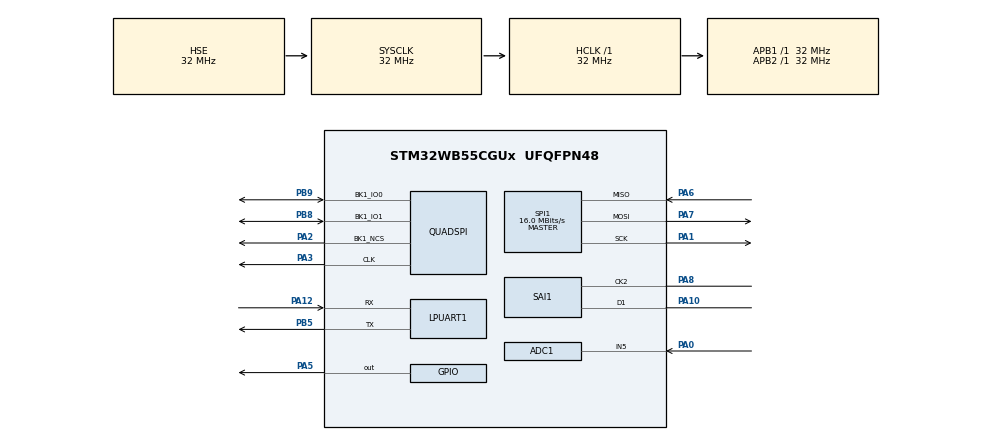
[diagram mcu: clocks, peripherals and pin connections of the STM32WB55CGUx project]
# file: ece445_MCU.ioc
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ADC1.Channel-0\#ChannelRegularConversion=ADC_CHANNEL_5
ADC1.NbrOfConversionFlag=1
ADC1.OffsetNumber-0\#ChannelRegularConversion=ADC_OFFSET_NONE
ADC1.Rank-0\#ChannelRegularConversion=1
ADC1.SamplingTime-0\#ChannelRegularConversion=ADC_SAMPLETIME_2CYCLES_5
ADC1.master=1
Dma.LPUART1_TX.1.Direction=DMA_MEMORY_TO_PERIPH
Dma.LPUART1_TX.1.EventEnable=DISABLE
Dma.LPUART1_TX.1.Instance=DMA1_Channel2
Dma.LPUART1_TX.1.MemDataAlignment=DMA_MDATAALIGN_BYTE
Dma.LPUART1_TX.1.MemInc=DMA_MINC_ENABLE
Dma.LPUART1_TX.1.Mode=DMA_NORMAL
Dma.LPUART1_TX.1.PeriphDataAlignment=DMA_PDATAALIGN_BYTE
Dma.LPUART1_TX.1.PeriphInc=DMA_PINC_DISABLE
Dma.LPUART1_TX.1.Polarity=HAL_DMAMUX_REQ_GEN_RISING
Dma.LPUART1_TX.1.Priority=DMA_PRIORITY_LOW
Dma.LPUART1_TX.1.RequestNumber=1
Dma.LPUART1_TX.1.SignalID=NONE
Dma.LPUART1_TX.1.SyncEnable=DISABLE
Dma.LPUART1_TX.1.SyncPolarity=HAL_DMAMUX_SYNC_NO_EVENT
Dma.LPUART1_TX.1.SyncRequestNumber=1
Dma.LPUART1_TX.1.SyncSignalID=NONE
Dma.Request0=SAI1_A
Dma.Request1=LPUART1_TX
Dma.SAI1_A.0.Direction=DMA_PERIPH_TO_MEMORY
Dma.SAI1_A.0.EventEnable=DISABLE
Dma.SAI1_A.0.Instance=DMA1_Channel1
Dma.SAI1_A.0.MemDataAlignment=DMA_MDATAALIGN_BYTE
Dma.SAI1_A.0.MemInc=DMA_MINC_ENABLE
Dma.SAI1_A.0.Mode=DMA_CIRCULAR
Dma.SAI1_A.0.PeriphDataAlignment=DMA_PDATAALIGN_BYTE
Dma.SAI1_A.0.PeriphInc=DMA_PINC_DISABLE
Dma.SAI1_A.0.Polarity=HAL_DMAMUX_REQ_GEN_RISING
Dma.SAI1_A.0.Priority=DMA_PRIORITY_LOW
Dma.SAI1_A.0.RequestNumber=1
Dma.SAI1_A.0.SignalID=NONE
Dma.SAI1_A.0.SyncEnable=DISABLE
Dma.SAI1_A.0.SyncPolarity=HAL_DMAMUX_SYNC_NO_EVENT
Dma.SAI1_A.0.SyncRequestNumber=1
Dma.SAI1_A.0.SyncSignalID=NONE
Mcu.Family=STM32WB
Mcu.Name=STM32WB55CGUx
Mcu.Package=UFQFPN48
NVIC.DMA1_Channel1_IRQn=true\:0\:0\:false\:false\:true\:false\:true\:true
NVIC.DMA1_Channel2_IRQn=true\:0\:0\:false\:false\:true\:false\:true\:true
NVIC.HSEM_IRQn=true\:0\:0\:false\:false\:true\:false\:true\:true
NVIC.IPCC_C1_RX_IRQn=true\:0\:0\:false\:false\:true\:true\:true\:true
NVIC.IPCC_C1_TX_IRQn=true\:0\:0\:false\:false\:true\:true\:true\:true
NVIC.LPUART1_IRQn=true\:0\:0\:false\:false\:true\:true\:true\:true
NVIC.PriorityGroup=NVIC_PRIORITYGROUP_4
NVIC.RTC_WKUP_IRQn=true\:0\:0\:false\:false\:true\:true\:true\:true
OSC_IN.Mode=HSE-External-Oscillator
OSC_IN.Signal=RCC_OSC_IN
OSC_OUT.Mode=HSE-External-Oscillator
OSC_OUT.Signal=RCC_OSC_OUT
PA0.Signal=ADCx_IN5
PA1.Mode=Full_Duplex_Master
PA1.Signal=SPI1_SCK
PA10.Mode=PDM_Master_Mode_CK2
PA10.Signal=SAI1_D1
PA12.Mode=Asynchronous
PA12.Signal=LPUART1_RX
PA13.Mode=Serial_Wire
PA13.Signal=SYS_JTMS-SWDIO
PA14.Mode=Serial_Wire
PA14.Signal=SYS_JTCK-SWCLK
PA2.Mode=Single Bank 1 2IOs
PA2.Signal=QUADSPI_BK1_NCS
PA3.Mode=Single Bank 1 2IOs
PA3.Signal=QUADSPI_CLK
PA5.Signal=GPIO_Output
PA6.Mode=Full_Duplex_Master
PA6.Signal=SPI1_MISO
PA7.Mode=Full_Duplex_Master
PA7.Signal=SPI1_MOSI
PA8.Mode=PDM_Master_Mode_CK2
PA8.Signal=SAI1_CK2
PB3.Signal=SYS_JTDO-SWO
PB5.Mode=Asynchronous
PB5.Signal=LPUART1_TX
PB8.Mode=Single Bank 1 2IOs
PB8.Signal=QUADSPI_BK1_IO1
PB9.Mode=Single Bank 1 2IOs
PB9.Signal=QUADSPI_BK1_IO0
PC14-OSC32_IN.Mode=LSE-External-Oscillator
PC14-OSC32_IN.Signal=RCC_OSC32_IN
PC15-OSC32_OUT.Mode=LSE-External-Oscillator
PC15-OSC32_OUT.Signal=RCC_OSC32_OUT
ProjectManager.HeapSize=0x200
ProjectManager.StackSize=0x400
ProjectManager.TargetToolchain=STM32CubeIDE
QUADSPI.ClockPrescaler=4
QUADSPI.FifoThreshold=4
QUADSPI.FlashSize=28
QUADSPI.SampleShifting=QSPI_SAMPLE_SHIFTING_HALFCYCLE
RCC.ADCFreq_Value=64000000
RCC.AHBFreq_Value=32000000
RCC.APB1Freq_Value=32000000
RCC.APB1TimFreq_Value=32000000
RCC.APB2Freq_Value=32000000
RCC.APB2TimFreq_Value=32000000
RCC.APB3Freq_Value=16000000
RCC.CortexFreq_Value=32000000
RCC.HCLKFreq_Value=32000000
RCC.HSE_VALUE=32000000
RCC.HSI48_VALUE=48000000
RCC.HSI_VALUE=16000000
RCC.PLLM=RCC_PLLM_DIV8
RCC.PLLSAI1N=32
RCC.PLLSourceVirtual=RCC_PLLSOURCE_HSE
RCC.RFWKPClockSelection=RCC_RFWKPCLKSOURCE_LSE
RCC.RTCClockSelection=RCC_RTCCLKSOURCE_LSE
RCC.SMPSCLockSelection=RCC_SMPSCLKSOURCE_HSE
RCC.SMPSDivider=4
RCC.SYSCLKFreq_VALUE=32000000
RCC.SYSCLKSource=RCC_SYSCLKSOURCE_HSE
RCC.USBFreq_Value=64000000
RCC.VCOOutputFreq_Value=32000000
RF1.Mode=RF1_Activate
RF1.Signal=RF_RF1
SAI1.Activation=ENABLE
SAI1.ActiveFrameLength-PDM_Master_Mode_CK2=1
SAI1.AudioFrequency-PDM_Master_Mode_CK2=SAI_AUDIO_FREQUENCY_MCKDIV
SAI1.ClockStrobing-PDM_Master_Mode_CK2=SAI_CLOCKSTROBING_FALLINGEDGE
SAI1.DataSize-PDM_Master_Mode_CK2=SAI_DATASIZE_16
SAI1.ErrorAudioFreq-PDM_Master_Mode_CK2=-2.34 %
SAI1.FSDefinition-PDM_Master_Mode_CK2=SAI_FS_STARTFRAME
SAI1.FrameLength-PDM_Master_Mode_CK2=16
SAI1.Instance-PDM_Master_Mode_CK2=SAI$Index_Block_A
SAI1.MClockEnable-PDM_Master_Mode_CK2=SAI_MASTERCLOCK_DISABLE
SAI1.MckOverSampling-PDM_Master_Mode_CK2=SAI_MCK_OVERSAMPLING_DISABLE
SAI1.Mckdiv-PDM_Master_Mode_CK2=0
SAI1.MonoStereoMode-PDM_Master_Mode_CK2=SAI_STEREOMODE
SAI1.NoDivider-PDM_Master_Mode_CK2=SAI_MASTERDIVIDER_ENABLE
SAI1.RealAudioFreq-PDM_Master_Mode_CK2=250.0 KHz
SAI1.SlotActive-PDM_Master_Mode_CK2=0x00000001
SAI1.SlotNumber-PDM_Master_Mode_CK2=1
SAI1.SlotSize-PDM_Master_Mode_CK2=SAI_SLOTSIZE_DATASIZE
SAI1.VirtualMode-PDM_Master_Mode_CK2=VM_MASTER
SAI1.VirtualProtocol-PDM_Master_Mode_CK2=VM_PDM_PROTOCOL
SAI1.VirtualSlotActive-PDM_Master_Mode_CK2=SAI_SLOT_USERSETTING
SAI1.VirtualSlotActive0-PDM_Master_Mode_CK2=true
SAI1.VirtualSlotActive1-PDM_Master_Mode_CK2=true
SH.ADCx_IN5.0=ADC1_IN5,IN5-Single-Ended
SPI1.CalculateBaudRate=16.0 MBits/s
SPI1.Direction=SPI_DIRECTION_2LINES
SPI1.Mode=SPI_MODE_MASTER
SPI1.VirtualType=VM_MASTER
STM32_WPAN.AD_SERVICE_CLASS_UUID_1=18 0D
STM32_WPAN.AD_SERVICE_CLASS_UUID_1_INV=[0D, 18]
STM32_WPAN.AD_TYPE_COMPLETE_LOCAL_NAME=myCST
STM32_WPAN.AD_TYPE_COMPLETE_LOCAL_NAME_LENGTH=6
STM32_WPAN.CFG_DEBUG_APP_TRACE=1
STM32_WPAN.CFG_DEBUG_BLE_TRACE=1
STM32_WPAN.CFG_DEBUG_TRACE_FULL=1
STM32_WPAN.CFG_DEBUG_TRACE_UART=hw_lpuart1
STM32_WPAN.CFG_GAP_DEVICE_NAME=MY_APP
STM32_WPAN.CFG_GAP_DEVICE_NAME_LENGTH=6
STM32_WPAN.CFG_HW_LPUART1_ENABLED=1
STM32_WPAN.CFG_LSCLK_LSE=0
STM32_WPAN.CUSTOM_P2P_SERVER=Disabled
STM32_WPAN.CUSTOM_TEMPLATE=Enabled
STM32_WPAN.INCLUDE_AD_TYPE_16_BIT_SERV_UUID_CMPLT_LIST=1
STM32_WPAN.INCLUDE_AD_TYPE_COMPLETE_LOCAL_NAME=1
STM32_WPAN.INCLUDE_AD_TYPE_MANUFACTURER_SPECIFIC_DATA=1
STM32_WPAN.INCLUDE_AD_TYPE_TX_POWER_LEVEL=1
STM32_WPAN.NUMBER_OF_SERVICES=1
STM32_WPAN.SERVICE1_CHAR1_GATT_NOTIFY_READ_REQ_AND_WAIT_FOR_APPL_RESP=\ 
STM32_WPAN.SERVICE1_CHAR1_GATT_NOTIFY_WRITE_REQ_AND_WAIT_FOR_APPL_RESP=\ 
STM32_WPAN.SERVICE1_CHAR1_LENGTH_CHARACTERISTIC=CHAR_VALUE_LEN_VARIABLE
STM32_WPAN.SERVICE1_CHAR1_LONG_NAME=Test_Transmission
STM32_WPAN.SERVICE1_CHAR1_PROP_READ=CHAR_PROP_READ
STM32_WPAN.SERVICE1_CHAR1_PROP_WRITE_WITHOUT_RESP=CHAR_PROP_WRITE_WITHOUT_RESP
STM32_WPAN.SERVICE1_CHAR1_SHORT_NAME=TEST
STM32_WPAN.SERVICE1_CHAR1_UUID=FE 41
STM32_WPAN.SERVICE1_CHAR1_VALUE_LENGTH=2
STM32_WPAN.SERVICE1_CHAR2_GATT_NOTIFY_READ_REQ_AND_WAIT_FOR_APPL_RESP=\ 
STM32_WPAN.SERVICE1_CHAR2_GATT_NOTIFY_WRITE_REQ_AND_WAIT_FOR_APPL_RESP=\ 
STM32_WPAN.SERVICE1_CHAR2_LENGTH_CHARACTERISTIC=CHAR_VALUE_LEN_VARIABLE
STM32_WPAN.SERVICE1_CHAR2_LONG_NAME=Transmit_Data
STM32_WPAN.SERVICE1_CHAR2_PROP_INDICATE=CHAR_PROP_INDICATE
STM32_WPAN.SERVICE1_CHAR2_PROP_NOTIFY=CHAR_PROP_NOTIFY
STM32_WPAN.SERVICE1_CHAR2_SHORT_NAME=DATA
STM32_WPAN.SERVICE1_CHAR2_UUID=FE 42
STM32_WPAN.SERVICE1_CHAR2_VALUE_LENGTH=128
STM32_WPAN.SERVICE1_LONG_NAME=My_P2P_Server
STM32_WPAN.SERVICE1_NUMBER_OF_CHARACTERISTICS=2
STM32_WPAN.SERVICE1_SHORT_NAME=P2PS
VP_HSEM_VS_HSEM.Mode=HSEM_Activate
VP_IPCC_VS_IPCC.Mode=IPCC_Activate
VP_MEMORYMAP_VS_MEMORYMAP.Mode=CurAppReg
VP_RTC_VS_RTC_Activate.Mode=RTC_Enabled
VP_RTC_VS_RTC_WakeUp_intern.Mode=WakeUp
VP_SEQUENCER_VS_SEQUENCER.Mode=SEQUENCER_Enabled
VP_STM32_WPAN_VS_BLE_HOST.Mode=STM32_WPAN_Enabled
VP_TINY_LPM_VS_TINY_LPM.Mode=TINY_LPM_Enabled
board=custom

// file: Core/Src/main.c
/* USER CODE BEGIN Header */
/**
  ******************************************************************************
  * @file           : main.c
  * @brief          : Main program body
  ******************************************************************************
  * @attention
  *
  * Copyright (c) 2025 STMicroelectronics.
  * All rights reserved.
  *
  * This software is licensed under terms that can be found in the LICENSE file
  * in the root directory of this software component.
  * If no LICENSE file comes with this software, it is provided AS-IS.
  *
  ******************************************************************************
  */
/* USER CODE END Header */
#include "main.h"

/* USER CODE BEGIN Includes */
#include "pdm2pcm.h"
#include "custom_app.h"
#include "dbg_trace.h"
#include "qspi.h"

/* USER CODE END Includes */

ADC_HandleTypeDef hadc1;

IPCC_HandleTypeDef hipcc;

UART_HandleTypeDef hlpuart1;
DMA_HandleTypeDef hdma_lpuart1_tx;

QSPI_HandleTypeDef hqspi;

RTC_HandleTypeDef hrtc;

SAI_HandleTypeDef hsai_BlockA1;
DMA_HandleTypeDef hdma_sai1_a;

SPI_HandleTypeDef hspi1;

void SystemClock_Config(void);
void PeriphCommonClock_Config(void);
static void MX_GPIO_Init(void);
static void MX_DMA_Init(void);
static void MX_LPUART1_UART_Init(void);
static void MX_SAI1_Init(void);
static void MX_SPI1_Init(void);
static void MX_RTC_Init(void);
static void MX_QUADSPI_Init(void);
static void MX_IPCC_Init(void);
static void MX_ADC1_Init(void);
static void MX_RF_Init(void);

/* USER CODE BEGIN 0 */
#define USE_HAL_SAI_REGISTER_CALLBACKS 1
#define AUDIO_BUFFER_LENGTH 1024U
#define AUDIO_BUFFER_LENGTH_HALF AUDIO_BUFFER_LENGTH / 2
#define PDM_BUFFER_LENGTH AUDIO_BUFFER_LENGTH * 128 / 8 //Decimation factor of 128 and 8 bits per byte.
#define PDM_BUFFER_LENGTH_HALF PDM_BUFFER_LENGTH / 2
#define RECORD_VOLTAGE 0

volatile uint8_t flag1 = 0;
volatile uint8_t flag2 = 0;
volatile uint32_t missedFrames = 0;
volatile uint32_t numFrames = 0;
uint32_t numNotifs= 0;
void HAL_SAI_RxHalfCpltCallback(SAI_HandleTypeDef *hsai)
{
	if(flag1){
		missedFrames++;
	}
	flag1 = 1;
	numFrames++;
}

void HAL_SAI_RxCpltCallback (SAI_HandleTypeDef *hsai)
{
	if(flag2){
		missedFrames++;
	}
	flag2 = 1;
	numFrames++;
}

uint32_t getBatteryVoltage(ADC_HandleTypeDef* hadc1){
	HAL_ADC_Start(hadc1);
	HAL_ADC_PollForConversion(hadc1, 20);
	uint32_t ADC_VAL = HAL_ADC_GetValue(hadc1);
	/*float batteryVoltage = 0.0014989*(float)ADC_VAL - 0.2286306;*/
	HAL_ADC_Stop(hadc1);
	return ADC_VAL;
}

/* USER CODE END 0 */

int main(void)
{

  /* USER CODE BEGIN 1 */
	volatile uint8_t sound_in[PDM_BUFFER_LENGTH] = {0};
	int16_t sound_out[AUDIO_BUFFER_LENGTH] = {0};
	int8_t sound_out_8bit[AUDIO_BUFFER_LENGTH_HALF] = {0};
	uint8_t pdata[4352] = {0}; //Buffer for reading and writing to flash cache which is 4352 bytes.
	uint8_t batteryData[4096];
	uint32_t startTick, curTick, prevBatteryTick=0, i, pdata_idx=0, flashAddrWrite=1, flashAddrRead, batteryData_idx=0, temp;

	for(i = 0; i < 4096; i++){
		batteryData[i] = 0xFF;
	}

  /* USER CODE END 1 */

  /* MCU Configuration--------------------------------------------------------*/

  /* Reset of all peripherals, Initializes the Flash interface and the Systick. */
  HAL_Init();
  /* Config code for STM32_WPAN (HSE Tuning must be done before system clock configuration) */
  MX_APPE_Config();

  /* Configure the system clock */
  SystemClock_Config();

  /* Configure the peripherals common clocks */
  PeriphCommonClock_Config();

  /* IPCC initialisation */
  MX_IPCC_Init();

  /* Initialize all configured peripherals */
  MX_GPIO_Init();
  MX_DMA_Init();
  MX_LPUART1_UART_Init();
  MX_SAI1_Init();
  MX_SPI1_Init();
  MX_RTC_Init();
  MX_QUADSPI_Init();
  MX_ADC1_Init();
  MX_RF_Init();
  /* USER CODE BEGIN 2 */
  //Need to enable CRC clock for PDM2PCM library to work
  __HAL_RCC_CRC_CLK_ENABLE();
  CRC->CR = CRC_CR_RESET;

  /*uint32_t pdm_error;
  PDM_Filter_Handler_t PDM_FilterHandler;
  PDM_Filter_Config_t   PDM_FilterConfig;

  PDM_FilterHandler.bit_order  = PDM_FILTER_BIT_ORDER_MSB;
  PDM_FilterHandler.endianness = PDM_FILTER_ENDIANNESS_BE;
  PDM_FilterHandler.high_pass_tap = 2122358088;
  PDM_FilterHandler.out_ptr_channels = 1;
  PDM_FilterHandler.in_ptr_channels  = 1;
  pdm_error = PDM_Filter_Init((PDM_Filter_Handler_t *)(&PDM_FilterHandler));

  PDM_FilterConfig.output_samples_number = AUDIO_BUFFER_LENGTH_HALF;
  PDM_FilterConfig.mic_gain = 15;
  PDM_FilterConfig.decimation_factor = PDM_FILTER_DEC_FACTOR_128;
  pdm_error =  PDM_Filter_setConfig((PDM_Filter_Handler_t *)&PDM_FilterHandler, &PDM_FilterConfig);*/

  PDM2PCM_Handler_t PDM2PCMHandler;
  PDM2PCM_Config_t   PDM2PCMConfig;
  PDM2PCMHandler.bit_order  = PDM2PCM_BIT_ORDER_MSB;
  PDM2PCMHandler.endianness = PDM2PCM_ENDIANNESS_LE;
  PDM2PCMHandler.high_pass_tap = 2122358088;
  PDM2PCMHandler.out_ptr_channels = 1;
  PDM2PCMHandler.in_ptr_channels  = 1;
  PDM2PCMConfig.output_samples_number = AUDIO_BUFFER_LENGTH_HALF;
  PDM2PCMConfig.mic_gain = 20;
  PDM2PCMConfig.decimation_factor = PDM2PCM_DEC_FACTOR_128;
  PDM2PCM_init(&PDM2PCMHandler);
  PDM2PCM_setConfig(&PDM2PCMHandler, &PDM2PCMConfig);

  HAL_GPIO_WritePin(GPIOA, GPIO_PIN_5, 1);
  HAL_SAI_Receive_DMA(&hsai_BlockA1,sound_in, PDM_BUFFER_LENGTH);
  State myState = LIVE;
  QSPI_unlockBlocks(&hqspi);
  APP_DBG_MSG("Hello");
  if(myState == RECORDING){
	  for(i = 0; i < 2048; i++){
		  QSPI_blockErase(&hqspi, i);
	  }
	  APP_DBG_MSG("Start Recording");
  }

  startTick = HAL_GetTick();
  /* USER CODE END 2 */

  /* Init code for STM32_WPAN */
  MX_APPE_Init();

  /* Infinite loop */
  /* USER CODE BEGIN WHILE */
  while (1)
  {
	  curTick = HAL_GetTick();
	  if(RECORD_VOLTAGE && (curTick - prevBatteryTick > 1000)){
		  prevBatteryTick = curTick;
		  temp = getBatteryVoltage(&hadc1);
		  memcpy(batteryData, &temp, 4);
		  QSPI_program(&hqspi, batteryData, batteryData_idx);
		  batteryData_idx++;
	  }

	  if(pdata_idx >= 4096){
		  QSPI_program(&hqspi, pdata, flashAddrWrite);
		  flashAddrWrite++;
		  pdata_idx = 0;
		  myState = TRANSFERRING;
	  }

	  if(flag1){
		  flag1 = 0;
		  PDM2PCM_process(&PDM2PCMHandler, &sound_in[0], &sound_out[0]);
		  //PDM_Filter(&sound_in[0], &sound_out[0], &PDM_FilterHandler);
		  switch(myState)
		  {
		  case(LIVE):
			  for(int i = 0; i < AUDIO_BUFFER_LENGTH_HALF/2; i++){
				  sound_out_8bit[i] = (sound_out[i*2] >> 8);
			  }

			  for(int i = 0; i < 2; i++){
				  Notify_Client_With_Data(&sound_out_8bit[i*128], 128);
				  numNotifs++;
			  }
			  break;
		  case(RECORDING):
			  //Copy half of the buffer length. But length is double because of 16 bit.
			  memcpy(&pdata[pdata_idx], sound_out, AUDIO_BUFFER_LENGTH);
			  pdata_idx += AUDIO_BUFFER_LENGTH;
			  break;
		  }

	  }
	  else if(flag2){
		  flag2 = 0;
		  PDM2PCM_process(&PDM2PCMHandler, &sound_in[PDM_BUFFER_LENGTH_HALF], &sound_out[AUDIO_BUFFER_LENGTH_HALF]);
		  //pdm_error = PDM_Filter(&sound_in[PDM_BUFFER_LENGTH_HALF], &sound_out[AUDIO_BUFFER_LENGTH_HALF], &PDM_FilterHandler);
		  switch(myState){
		  case(LIVE):
			  for(int i = 0; i < 256; i++){
				  sound_out_8bit[i] = (sound_out[i*2+AUDIO_BUFFER_LENGTH_HALF] >> 8);
			  }
			  for(int i = 0; i < 2; i++){
				  Notify_Client_With_Data(&sound_out_8bit[i*128], 128);
				  numNotifs++;
			  }
			  break;
		  case(RECORDING):
				  //Copy half of the buffer length. But length is double because of 16 bit.
			  memcpy(&pdata[pdata_idx], &sound_out[AUDIO_BUFFER_LENGTH_HALF], AUDIO_BUFFER_LENGTH);
		  	  pdata_idx += AUDIO_BUFFER_LENGTH;
		  	  break;
		  }
	  }

    /* USER CODE END WHILE */
    MX_APPE_Process();

  }
}

void SystemClock_Config(void)
{
  RCC_OscInitTypeDef RCC_OscInitStruct = {0};
  RCC_ClkInitTypeDef RCC_ClkInitStruct = {0};

  /** Macro to configure the PLL multiplication factor
  */
  __HAL_RCC_PLL_PLLM_CONFIG(RCC_PLLM_DIV8);

  /** Macro to configure the PLL clock source
  */
  __HAL_RCC_PLL_PLLSOURCE_CONFIG(RCC_PLLSOURCE_HSE);

  /** Configure LSE Drive Capability
  */
  HAL_PWR_EnableBkUpAccess();
  __HAL_RCC_LSEDRIVE_CONFIG(RCC_LSEDRIVE_MEDIUMHIGH);

  /** Configure the main internal regulator output voltage
  */
  __HAL_PWR_VOLTAGESCALING_CONFIG(PWR_REGULATOR_VOLTAGE_SCALE1);

  /** Initializes the RCC Oscillators according to the specified parameters
  * in the RCC_OscInitTypeDef structure.
  */
  RCC_OscInitStruct.OscillatorType = RCC_OSCILLATORTYPE_HSI|RCC_OSCILLATORTYPE_HSE
                              |RCC_OSCILLATORTYPE_LSE;
  RCC_OscInitStruct.HSEState = RCC_HSE_ON;
  RCC_OscInitStruct.LSEState = RCC_LSE_ON;
  RCC_OscInitStruct.HSIState = RCC_HSI_ON;
  RCC_OscInitStruct.HSICalibrationValue = RCC_HSICALIBRATION_DEFAULT;
  RCC_OscInitStruct.PLL.PLLState = RCC_PLL_NONE;
  if (HAL_RCC_OscConfig(&RCC_OscInitStruct) != HAL_OK)
  {
    Error_Handler();
  }

  /** Configure the SYSCLKSource, HCLK, PCLK1 and PCLK2 clocks dividers
  */
  RCC_ClkInitStruct.ClockType = RCC_CLOCKTYPE_HCLK4|RCC_CLOCKTYPE_HCLK2
                              |RCC_CLOCKTYPE_HCLK|RCC_CLOCKTYPE_SYSCLK
                              |RCC_CLOCKTYPE_PCLK1|RCC_CLOCKTYPE_PCLK2;
  RCC_ClkInitStruct.SYSCLKSource = RCC_SYSCLKSOURCE_HSE;
  RCC_ClkInitStruct.AHBCLKDivider = RCC_SYSCLK_DIV1;
  RCC_ClkInitStruct.APB1CLKDivider = RCC_HCLK_DIV1;
  RCC_ClkInitStruct.APB2CLKDivider = RCC_HCLK_DIV1;
  RCC_ClkInitStruct.AHBCLK2Divider = RCC_SYSCLK_DIV1;
  RCC_ClkInitStruct.AHBCLK4Divider = RCC_SYSCLK_DIV1;

  if (HAL_RCC_ClockConfig(&RCC_ClkInitStruct, FLASH_LATENCY_1) != HAL_OK)
  {
    Error_Handler();
  }
}

void PeriphCommonClock_Config(void)
{
  RCC_PeriphCLKInitTypeDef PeriphClkInitStruct = {0};

  /** Initializes the peripherals clock
  */
  PeriphClkInitStruct.PeriphClockSelection = RCC_PERIPHCLK_SMPS|RCC_PERIPHCLK_RFWAKEUP
                              |RCC_PERIPHCLK_SAI1|RCC_PERIPHCLK_ADC;
  PeriphClkInitStruct.PLLSAI1.PLLN = 32;
  PeriphClkInitStruct.PLLSAI1.PLLP = RCC_PLLP_DIV2;
  PeriphClkInitStruct.PLLSAI1.PLLQ = RCC_PLLQ_DIV2;
  PeriphClkInitStruct.PLLSAI1.PLLR = RCC_PLLR_DIV2;
  PeriphClkInitStruct.PLLSAI1.PLLSAI1ClockOut = RCC_PLLSAI1_SAI1CLK|RCC_PLLSAI1_ADCCLK;
  PeriphClkInitStruct.Sai1ClockSelection = RCC_SAI1CLKSOURCE_PLLSAI1;
  PeriphClkInitStruct.AdcClockSelection = RCC_ADCCLKSOURCE_PLLSAI1;
  PeriphClkInitStruct.RFWakeUpClockSelection = RCC_RFWKPCLKSOURCE_LSE;
  PeriphClkInitStruct.SmpsClockSelection = RCC_SMPSCLKSOURCE_HSE;
  PeriphClkInitStruct.SmpsDivSelection = RCC_SMPSCLKDIV_RANGE1;

  if (HAL_RCCEx_PeriphCLKConfig(&PeriphClkInitStruct) != HAL_OK)
  {
    Error_Handler();
  }
}

static void MX_ADC1_Init(void)
{

  ADC_ChannelConfTypeDef sConfig = {0};

  /** Common config
  */
  hadc1.Instance = ADC1;
  hadc1.Init.ClockPrescaler = ADC_CLOCK_ASYNC_DIV1;
  hadc1.Init.Resolution = ADC_RESOLUTION_12B;
  hadc1.Init.DataAlign = ADC_DATAALIGN_RIGHT;
  hadc1.Init.ScanConvMode = ADC_SCAN_DISABLE;
  hadc1.Init.EOCSelection = ADC_EOC_SINGLE_CONV;
  hadc1.Init.LowPowerAutoWait = DISABLE;
  hadc1.Init.ContinuousConvMode = DISABLE;
  hadc1.Init.NbrOfConversion = 1;
  hadc1.Init.DiscontinuousConvMode = DISABLE;
  hadc1.Init.ExternalTrigConv = ADC_SOFTWARE_START;
  hadc1.Init.ExternalTrigConvEdge = ADC_EXTERNALTRIGCONVEDGE_NONE;
  hadc1.Init.DMAContinuousRequests = DISABLE;
  hadc1.Init.Overrun = ADC_OVR_DATA_PRESERVED;
  hadc1.Init.OversamplingMode = DISABLE;
  if (HAL_ADC_Init(&hadc1) != HAL_OK)
  {
    Error_Handler();
  }

  /** Configure Regular Channel
  */
  sConfig.Channel = ADC_CHANNEL_5;
  sConfig.Rank = ADC_REGULAR_RANK_1;
  sConfig.SamplingTime = ADC_SAMPLETIME_2CYCLES_5;
  sConfig.SingleDiff = ADC_SINGLE_ENDED;
  sConfig.OffsetNumber = ADC_OFFSET_NONE;
  sConfig.Offset = 0;
  if (HAL_ADC_ConfigChannel(&hadc1, &sConfig) != HAL_OK)
  {
    Error_Handler();
  }

}

static void MX_IPCC_Init(void)
{

  hipcc.Instance = IPCC;
  if (HAL_IPCC_Init(&hipcc) != HAL_OK)
  {
    Error_Handler();
  }

}

static void MX_LPUART1_UART_Init(void)
{

  hlpuart1.Instance = LPUART1;
  hlpuart1.Init.BaudRate = 115200;
  hlpuart1.Init.WordLength = UART_WORDLENGTH_8B;
  hlpuart1.Init.StopBits = UART_STOPBITS_1;
  hlpuart1.Init.Parity = UART_PARITY_NONE;
  hlpuart1.Init.Mode = UART_MODE_TX_RX;
  hlpuart1.Init.HwFlowCtl = UART_HWCONTROL_NONE;
  hlpuart1.Init.OneBitSampling = UART_ONE_BIT_SAMPLE_DISABLE;
  hlpuart1.Init.ClockPrescaler = UART_PRESCALER_DIV1;
  hlpuart1.AdvancedInit.AdvFeatureInit = UART_ADVFEATURE_NO_INIT;
  hlpuart1.FifoMode = UART_FIFOMODE_DISABLE;
  if (HAL_UART_Init(&hlpuart1) != HAL_OK)
  {
    Error_Handler();
  }
  if (HAL_UARTEx_SetTxFifoThreshold(&hlpuart1, UART_TXFIFO_THRESHOLD_1_8) != HAL_OK)
  {
    Error_Handler();
  }
  if (HAL_UARTEx_SetRxFifoThreshold(&hlpuart1, UART_RXFIFO_THRESHOLD_1_8) != HAL_OK)
  {
    Error_Handler();
  }
  if (HAL_UARTEx_DisableFifoMode(&hlpuart1) != HAL_OK)
  {
    Error_Handler();
  }

}

static void MX_QUADSPI_Init(void)
{

  /* QUADSPI parameter configuration*/
  hqspi.Instance = QUADSPI;
  hqspi.Init.ClockPrescaler = 4;
  hqspi.Init.FifoThreshold = 4;
  hqspi.Init.SampleShifting = QSPI_SAMPLE_SHIFTING_HALFCYCLE;
  hqspi.Init.FlashSize = 28;
  hqspi.Init.ChipSelectHighTime = QSPI_CS_HIGH_TIME_1_CYCLE;
  hqspi.Init.ClockMode = QSPI_CLOCK_MODE_0;
  if (HAL_QSPI_Init(&hqspi) != HAL_OK)
  {
    Error_Handler();
  }

}

static void MX_RF_Init(void)
{

}

static void MX_RTC_Init(void)
{

  /** Initialize RTC Only
  */
  hrtc.Instance = RTC;
  hrtc.Init.HourFormat = RTC_HOURFORMAT_24;
  hrtc.Init.AsynchPrediv = CFG_RTC_ASYNCH_PRESCALER;
  hrtc.Init.SynchPrediv = CFG_RTC_SYNCH_PRESCALER;
  hrtc.Init.OutPut = RTC_OUTPUT_DISABLE;
  hrtc.Init.OutPutPolarity = RTC_OUTPUT_POLARITY_HIGH;
  hrtc.Init.OutPutType = RTC_OUTPUT_TYPE_OPENDRAIN;
  hrtc.Init.OutPutRemap = RTC_OUTPUT_REMAP_NONE;
  if (HAL_RTC_Init(&hrtc) != HAL_OK)
  {
    Error_Handler();
  }

  /** Enable the WakeUp
  */
  if (HAL_RTCEx_SetWakeUpTimer_IT(&hrtc, 0, RTC_WAKEUPCLOCK_RTCCLK_DIV16) != HAL_OK)
  {
    Error_Handler();
  }

}

static void MX_SAI1_Init(void)
{

  hsai_BlockA1.Instance = SAI1_Block_A;
  hsai_BlockA1.Init.Protocol = SAI_FREE_PROTOCOL;
  hsai_BlockA1.Init.AudioMode = SAI_MODEMASTER_RX;
  hsai_BlockA1.Init.DataSize = SAI_DATASIZE_16;
  hsai_BlockA1.Init.FirstBit = SAI_FIRSTBIT_MSB;
  hsai_BlockA1.Init.ClockStrobing = SAI_CLOCKSTROBING_FALLINGEDGE;
  hsai_BlockA1.Init.Synchro = SAI_ASYNCHRONOUS;
  hsai_BlockA1.Init.OutputDrive = SAI_OUTPUTDRIVE_DISABLE;
  hsai_BlockA1.Init.NoDivider = SAI_MASTERDIVIDER_ENABLE;
  hsai_BlockA1.Init.MckOverSampling = SAI_MCK_OVERSAMPLING_DISABLE;
  hsai_BlockA1.Init.FIFOThreshold = SAI_FIFOTHRESHOLD_EMPTY;
  hsai_BlockA1.Init.AudioFrequency = SAI_AUDIO_FREQUENCY_MCKDIV;
  hsai_BlockA1.Init.Mckdiv = 0;
  hsai_BlockA1.Init.MonoStereoMode = SAI_STEREOMODE;
  hsai_BlockA1.Init.CompandingMode = SAI_NOCOMPANDING;
  hsai_BlockA1.Init.PdmInit.Activation = ENABLE;
  hsai_BlockA1.Init.PdmInit.MicPairsNbr = 1;
  hsai_BlockA1.Init.PdmInit.ClockEnable = SAI_PDM_CLOCK2_ENABLE;
  hsai_BlockA1.FrameInit.FrameLength = 16;
  hsai_BlockA1.FrameInit.ActiveFrameLength = 1;
  hsai_BlockA1.FrameInit.FSDefinition = SAI_FS_STARTFRAME;
  hsai_BlockA1.FrameInit.FSPolarity = SAI_FS_ACTIVE_LOW;
  hsai_BlockA1.FrameInit.FSOffset = SAI_FS_FIRSTBIT;
  hsai_BlockA1.SlotInit.FirstBitOffset = 0;
  hsai_BlockA1.SlotInit.SlotSize = SAI_SLOTSIZE_DATASIZE;
  hsai_BlockA1.SlotInit.SlotNumber = 1;
  hsai_BlockA1.SlotInit.SlotActive = 0x00000001;
  if (HAL_SAI_Init(&hsai_BlockA1) != HAL_OK)
  {
    Error_Handler();
  }

}

static void MX_SPI1_Init(void)
{

  /* SPI1 parameter configuration*/
  hspi1.Instance = SPI1;
  hspi1.Init.Mode = SPI_MODE_MASTER;
  hspi1.Init.Direction = SPI_DIRECTION_2LINES;
  hspi1.Init.DataSize = SPI_DATASIZE_4BIT;
  hspi1.Init.CLKPolarity = SPI_POLARITY_LOW;
  hspi1.Init.CLKPhase = SPI_PHASE_1EDGE;
  hspi1.Init.NSS = SPI_NSS_SOFT;
  hspi1.Init.BaudRatePrescaler = SPI_BAUDRATEPRESCALER_2;
  hspi1.Init.FirstBit = SPI_FIRSTBIT_MSB;
  hspi1.Init.TIMode = SPI_TIMODE_DISABLE;
  hspi1.Init.CRCCalculation = SPI_CRCCALCULATION_DISABLE;
  hspi1.Init.CRCPolynomial = 7;
  hspi1.Init.CRCLength = SPI_CRC_LENGTH_DATASIZE;
  hspi1.Init.NSSPMode = SPI_NSS_PULSE_ENABLE;
  if (HAL_SPI_Init(&hspi1) != HAL_OK)
  {
    Error_Handler();
  }

}

static void MX_DMA_Init(void)
{

  /* DMA controller clock enable */
  __HAL_RCC_DMAMUX1_CLK_ENABLE();
  __HAL_RCC_DMA1_CLK_ENABLE();

  /* DMA interrupt init */
  /* DMA1_Channel1_IRQn interrupt configuration */
  HAL_NVIC_SetPriority(DMA1_Channel1_IRQn, 0, 0);
  HAL_NVIC_EnableIRQ(DMA1_Channel1_IRQn);
  /* DMA1_Channel2_IRQn interrupt configuration */
  HAL_NVIC_SetPriority(DMA1_Channel2_IRQn, 0, 0);
  HAL_NVIC_EnableIRQ(DMA1_Channel2_IRQn);

}

static void MX_GPIO_Init(void)
{
  GPIO_InitTypeDef GPIO_InitStruct = {0};

  /* GPIO Ports Clock Enable */
  __HAL_RCC_GPIOC_CLK_ENABLE();
  __HAL_RCC_GPIOB_CLK_ENABLE();
  __HAL_RCC_GPIOA_CLK_ENABLE();

  /*Configure GPIO pin Output Level */
  HAL_GPIO_WritePin(GPIOA, GPIO_PIN_5, GPIO_PIN_RESET);

  /*Configure GPIO pin : PA5 */
  GPIO_InitStruct.Pin = GPIO_PIN_5;
  GPIO_InitStruct.Mode = GPIO_MODE_OUTPUT_PP;
  GPIO_InitStruct.Pull = GPIO_NOPULL;
  GPIO_InitStruct.Speed = GPIO_SPEED_FREQ_LOW;
  HAL_GPIO_Init(GPIOA, &GPIO_InitStruct);

}

void Error_Handler(void)
{
  __disable_irq();
  while (1)
  {
  }
}
